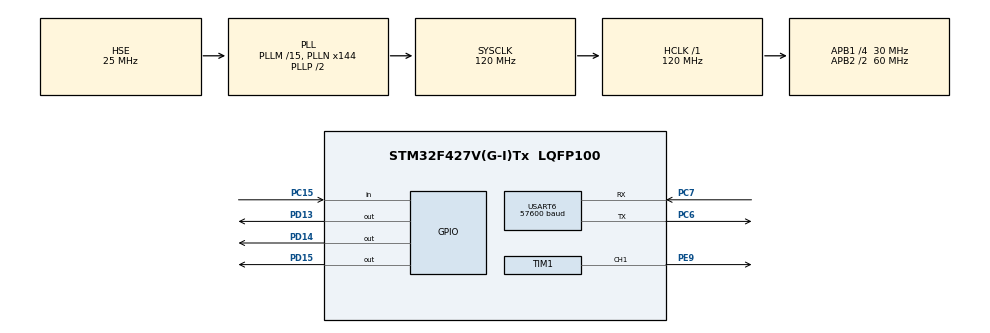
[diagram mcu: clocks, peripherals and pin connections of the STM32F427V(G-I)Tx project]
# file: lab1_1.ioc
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Mcu.Family=STM32F4
Mcu.Name=STM32F427V(G-I)Tx
Mcu.Package=LQFP100
NVIC.PriorityGroup=NVIC_PRIORITYGROUP_4
NVIC.USART6_IRQn=true\:0\:0\:false\:false\:true\:true\:true\:true
PA13.Mode=JTAG_5_pins
PA13.Signal=SYS_JTMS-SWDIO
PA14.Mode=JTAG_5_pins
PA14.Signal=SYS_JTCK-SWCLK
PA15.Mode=JTAG_5_pins
PA15.Signal=SYS_JTDI
PB3.Mode=JTAG_5_pins
PB3.Signal=SYS_JTDO-SWO
PB4.Mode=JTAG_5_pins
PB4.Signal=SYS_JTRST
PC15/OSC32_OUT.Signal=GPIO_Input
PC6.Mode=Asynchronous
PC6.Signal=USART6_TX
PC7.Mode=Asynchronous
PC7.Signal=USART6_RX
PD13.Signal=GPIO_Output
PD14.Signal=GPIO_Output
PD15.Signal=GPIO_Output
PE9.Signal=S_TIM1_CH1
PH0/OSC_IN.Mode=HSE-External-Oscillator
PH0/OSC_IN.Signal=RCC_OSC_IN
PH1/OSC_OUT.Mode=HSE-External-Oscillator
PH1/OSC_OUT.Signal=RCC_OSC_OUT
ProjectManager.HeapSize=0x200
ProjectManager.StackSize=0x400
ProjectManager.TargetToolchain=STM32CubeIDE
RCC.48MHZClocksFreq_Value=60000000
RCC.AHBFreq_Value=120000000
RCC.APB1CLKDivider=RCC_HCLK_DIV4
RCC.APB1Freq_Value=30000000
RCC.APB1TimFreq_Value=60000000
RCC.APB2CLKDivider=RCC_HCLK_DIV2
RCC.APB2Freq_Value=60000000
RCC.APB2TimFreq_Value=120000000
RCC.CortexFreq_Value=120000000
RCC.HCLKFreq_Value=120000000
RCC.HSE_VALUE=25000000
RCC.HSI_VALUE=16000000
RCC.LSE_VALUE=32768
RCC.PLLM=15
RCC.PLLN=144
RCC.PLLSourceVirtual=RCC_PLLSOURCE_HSE
RCC.SYSCLKFreq_VALUE=120000000
RCC.SYSCLKSource=RCC_SYSCLKSOURCE_PLLCLK
RCC.VCOOutputFreq_Value=240000000
SH.S_TIM1_CH1.0=TIM1_CH1,PWM Generation1 CH1
TIM1.Channel-PWM\ Generation1\ CH1=TIM_CHANNEL_1
TIM1.Period=2298
TIM1.Prescaler=199
TIM1.Pulse-PWM\ Generation1\ CH1=1149
TIM1.RepetitionCounter=0
USART6.BaudRate=57600
USART6.VirtualMode=VM_ASYNC
VP_TIM1_VS_ClockSourceINT.Mode=Internal
board=custom

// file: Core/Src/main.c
/* USER CODE BEGIN Header */
/**
  ******************************************************************************
  * @file           : main.c
  * @brief          : Main program body
  ******************************************************************************
  * @attention
  *
  * Copyright (c) 2024 STMicroelectronics.
  * All rights reserved.
  *
  * This software is licensed under terms that can be found in the LICENSE file
  * in the root directory of this software component.
  * If no LICENSE file comes with this software, it is provided AS-IS.
  *
  ******************************************************************************
  */
/* USER CODE END Header */
#include "main.h"
#include "tim.h"
#include "usart.h"
#include "gpio.h"

/* USER CODE BEGIN Includes */
#include "traffic_light.h"
/* USER CODE END Includes */

/* USER CODE BEGIN PV */
  struct mech_data fsm_obj;
  char el;
  char in_buffer_IT[50];
  volatile static int len_in_buf;
  volatile static int send_req;

  char datas[1000];
  volatile static int already_printed;
  volatile static int last_data;
/* USER CODE END PV */

void SystemClock_Config(void);
/* USER CODE BEGIN PFP */
void init_vals_IT(){
	len_in_buf = 0;
	memset(in_buffer_IT, 't', sizeof(in_buffer_IT));
	send_req = 0;
	already_printed = 0;
	last_data = 0;
}

void data_collecter(char* buf, int len){
	for(int i = 0;i < len; i++){
		datas[last_data] = buf[i];
		last_data = (last_data + 1) % 1000;
	}
}

void transend_data_IT(char* buf, int len) {
	if(send_req){
		data_collecter(buf, len);
		return;
	}
	send_req = 1;
	HAL_UART_Transmit_IT( &huart6, (uint8_t *) buf, len);
}

void print_collected_data(){
	if(already_printed != last_data){
		transend_data_IT(&datas[already_printed], 1);
		already_printed = (already_printed + 1) % 1000;
	}
	else {
		already_printed = 0;
		last_data       = 0;
	}
}

void HAL_UART_RxCpltCallback(UART_HandleTypeDef *huart) {
  in_buffer_IT[len_in_buf] = el;
  transend_data_IT(&el, 1);
  if(in_buffer_IT[len_in_buf] == '\r'){
	  int local_len = len_in_buf;
	  deshifr(in_buffer_IT, &local_len, &fsm_obj);
	  len_in_buf = 0;
  }
  else{
	  len_in_buf = len_in_buf + 1;
  }
}

void HAL_UART_TxCpltCallback(UART_HandleTypeDef *huart) {
	send_req = 0;
	print_collected_data();
}

/* USER CODE END PFP */

int main(void)
{

  /* MCU Configuration--------------------------------------------------------*/

  /* Reset of all peripherals, Initializes the Flash interface and the Systick. */
  HAL_Init();

  /* Configure the system clock */
  SystemClock_Config();

  /* Initialize all configured peripherals */
  MX_GPIO_Init();
  MX_USART6_UART_Init();
  MX_TIM1_Init();
  /* USER CODE BEGIN 2 */
  fsm_obj.button_cnt = 0;
  fsm_obj.button_pressed_flag = 0;
  fsm_obj.red_time = 6000;
  fsm_obj.other_time = fsm_obj.red_time / 4;
  fsm_obj.current_red = fsm_obj.red_time;
  fsm_obj.start_time = 0;
  fsm_obj.wait_time = 0;
  fsm_obj.state = RED;
  fsm_obj.fsm_flag = 0;
  fsm_obj.interupt_enable = 0;
  fsm_obj.work_mode = 1;

  char in_buffer[50];
  int  in_curlen = 0;
  int first_iter = -1;
  /* USER CODE END 2 */

  /* Infinite loop */
  /* USER CODE BEGIN WHILE */
  HAL_TIM_PWM_Start(&htim1, TIM_CHANNEL_1);
  while (1)
  {
    /* USER CODE END WHILE */

    /* USER CODE BEGIN 3 */
	nextStateMachine(&fsm_obj.state, fsm_obj.red_time, fsm_obj.other_time, &fsm_obj.current_red, &fsm_obj.fsm_flag, &fsm_obj.wait_time, &fsm_obj.button_pressed_flag, &fsm_obj.start_time);
	//if(fsm_obj.work_mode)
	// check_button(&fsm_obj.button_cnt, fsm_obj.other_time, &fsm_obj.current_red, &fsm_obj.button_pressed_flag);
    if(HAL_OK == HAL_UART_Receive( &huart6, (uint8_t *) &el, 1, 10 )) {
    	analize_symb(el);
    }
	/*if(!fsm_obj.interupt_enable) {
		first_iter = 0;
        if(HAL_OK == HAL_UART_Receive( &huart6, (uint8_t *) &in_buffer[in_curlen], 1, 10 )){
        	HAL_UART_Transmit( &huart6, (uint8_t *) &in_buffer[in_curlen], 1, 10 );
        	if(in_buffer[in_curlen] == '\r') {
        		in_buffer[in_curlen] = '\0';
        		deshifr(in_buffer, &in_curlen, &fsm_obj);
        		in_curlen = 0;
        	}
        	else {
        		in_curlen++;
        	}
        }
	  }
	  else {
		  if(first_iter == 0){
			  init_vals_IT();
			  first_iter = 1;
		  }
		  else
			  HAL_UART_Receive_IT( &huart6, (uint8_t *) &el, 1);

	  }
	*/
  }
  /* USER CODE END 3 */
}

void SystemClock_Config(void)
{
  RCC_OscInitTypeDef RCC_OscInitStruct = {0};
  RCC_ClkInitTypeDef RCC_ClkInitStruct = {0};

  /** Configure the main internal regulator output voltage
  */
  __HAL_RCC_PWR_CLK_ENABLE();
  __HAL_PWR_VOLTAGESCALING_CONFIG(PWR_REGULATOR_VOLTAGE_SCALE3);

  /** Initializes the RCC Oscillators according to the specified parameters
  * in the RCC_OscInitTypeDef structure.
  */
  RCC_OscInitStruct.OscillatorType = RCC_OSCILLATORTYPE_HSE;
  RCC_OscInitStruct.HSEState = RCC_HSE_ON;
  RCC_OscInitStruct.PLL.PLLState = RCC_PLL_ON;
  RCC_OscInitStruct.PLL.PLLSource = RCC_PLLSOURCE_HSE;
  RCC_OscInitStruct.PLL.PLLM = 15;
  RCC_OscInitStruct.PLL.PLLN = 144;
  RCC_OscInitStruct.PLL.PLLP = RCC_PLLP_DIV2;
  RCC_OscInitStruct.PLL.PLLQ = 4;
  if (HAL_RCC_OscConfig(&RCC_OscInitStruct) != HAL_OK)
  {
    Error_Handler();
  }

  /** Initializes the CPU, AHB and APB buses clocks
  */
  RCC_ClkInitStruct.ClockType = RCC_CLOCKTYPE_HCLK|RCC_CLOCKTYPE_SYSCLK
                              |RCC_CLOCKTYPE_PCLK1|RCC_CLOCKTYPE_PCLK2;
  RCC_ClkInitStruct.SYSCLKSource = RCC_SYSCLKSOURCE_PLLCLK;
  RCC_ClkInitStruct.AHBCLKDivider = RCC_SYSCLK_DIV1;
  RCC_ClkInitStruct.APB1CLKDivider = RCC_HCLK_DIV4;
  RCC_ClkInitStruct.APB2CLKDivider = RCC_HCLK_DIV2;

  if (HAL_RCC_ClockConfig(&RCC_ClkInitStruct, FLASH_LATENCY_3) != HAL_OK)
  {
    Error_Handler();
  }
}

void Error_Handler(void)
{
  __disable_irq();
  while (1)
  {
  }
}
